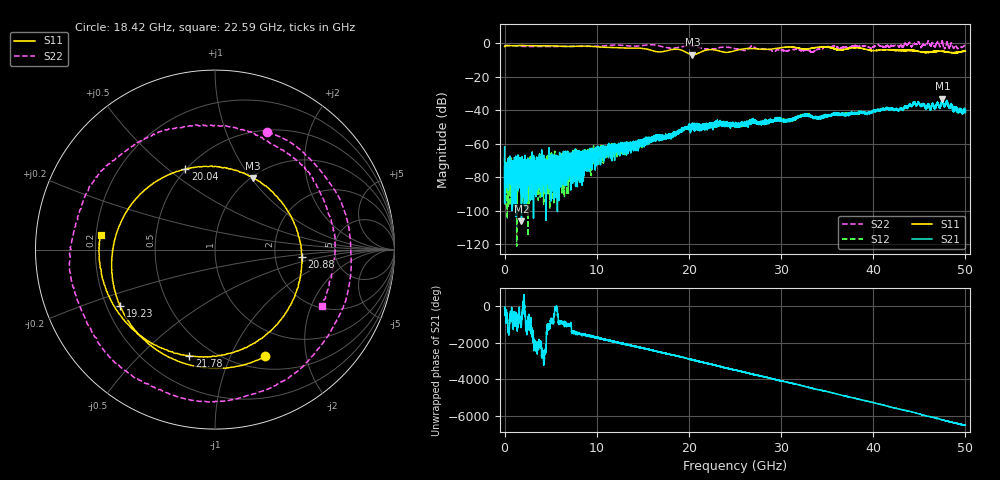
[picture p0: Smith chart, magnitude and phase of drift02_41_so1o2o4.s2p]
!Created with skrf (http://scikit-rf.org).
# Hz S RI R 50.0
!freq ReS11 ImS11 ReS21 ImS21 ReS12 ImS12 ReS22 ImS22
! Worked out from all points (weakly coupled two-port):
!   10001 points, 300 kHz to 50 GHz, reference 50 ohm
!   highest |S21| = -33.23 dB at 47.52 GHz (marker M1); lowest = -106.4 dB at 1.83 GHz (marker M2)
!   lowest |S11| = -6.9 dB at 20.38 GHz (marker M3), VSWR 2.64, Z = 51.1 + j51.1 ohm
!   |S11| at or under -10 dB: nowhere
!   |S22| runs from -5.3 to 1.6 dB; largest |S21 - S12| = 0.0035
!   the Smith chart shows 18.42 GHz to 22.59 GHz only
!   S11 on the Smith chart (normalised r, x): 18.42 GHz: 0.65, -1.36; 19.23 GHz: 0.25, -0.26; 20.04 GHz: 0.49, +0.58; 20.88 GHz: 2.84, -0.31; 21.78 GHz: 0.38, -0.71; 22.59 GHz: 0.22, +0.06
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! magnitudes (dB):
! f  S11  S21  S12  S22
! 300 kHz  -2.0  -62.0  -67.9  -1.3
! 255.3 MHz  -1.4  -84.0  -75.5  -1.4
! 1.83 GHz  -1.4  -106.4  -78.6  -1.8
! 4.925 GHz  -1.6  -66.8  -70.3  -2.0
! 8.335 GHz  -1.7  -71.5  -64.6  -1.9
! 16.67 GHz  -5.2  -54.6  -55.9  -1.5
! 18.42 GHz  -3.6  -54.2  -54.0  -2.9
! 19.23 GHz  -4.2  -51.5  -51.8  -2.2
! 20.04 GHz  -6.4  -49.6  -50.6  -1.5
! 20.38 GHz  -6.9  -49.2  -50.3  -1.7
! 20.88 GHz  -6.3  -49.3  -50.6  -2.1
! 21.78 GHz  -4.3  -49.6  -48.9  -3.5
! 22.59 GHz  -3.8  -48.7  -49.9  -3.4
! 25 GHz  -4.5  -49.0  -49.1  -3.2
! 26.11 GHz  -3.3  -48.4  -48.5  -4.3
! 26.9 GHz  -3.2  -45.5  -46.1  -1.7
! 33.34 GHz  -3.0  -43.7  -43.9  -5.2
! 34.89 GHz  -2.2  -43.5  -43.3  -2.3
! 41.67 GHz  -4.0  -39.4  -39.1  -2.1
! 44.41 GHz  -4.5  -35.0  -35.1  0.2
! 47.52 GHz  -4.9  -33.2  -33.8  1.4
! 50 GHz  -4.8  -40.1  -40.1  -1.5
